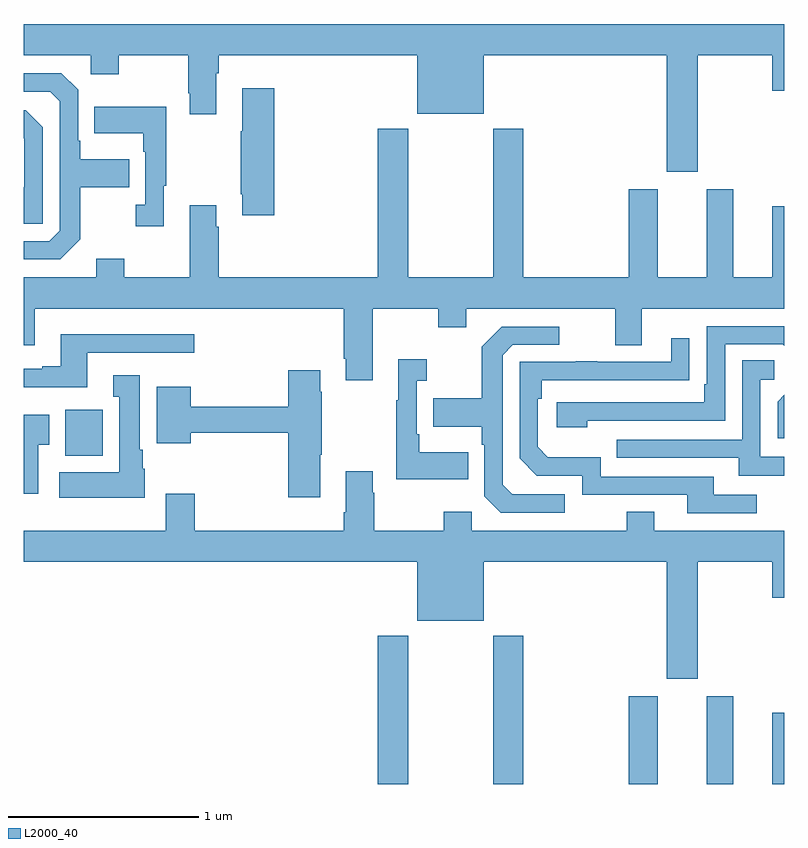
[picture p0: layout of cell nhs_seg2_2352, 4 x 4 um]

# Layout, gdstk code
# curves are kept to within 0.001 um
import gdstk
lib = gdstk.Library(unit=1e-6, precision=1e-09)
def R(c, l, rs):  # rectangles x0, y0, x1, y1
    for r in rs: c.add(gdstk.rectangle(r[:2], r[2:], *l))
def P(c, l, *ps):  # polygons
    for p in ps: c.add(gdstk.Polygon(p, *l))
L2000_40 = (2000, 40)

nhs_seg2_2352 = lib.new_cell('nhs_seg2_2352')
R(nhs_seg2_2352, L2000_40, [(234.863,647.8,235.023,648.58), (235.468,647.8,235.628,648.58), (236.183,647.8,236.335,648.262), (236.591,647.8,236.731,648.262), (236.936,647.8,237,648.175), (233.219,649.526,233.416,649.768)])
P(nhs_seg2_2352, L2000_40, [(236.545,651.632),(236.936,651.632),(236.936,651.444),(237,651.444),(237,651.796),(233,651.796),(233,651.632),(233.352,651.632),(233.352,651.533),(233.499,651.533),(233.499,651.632),(233.866,651.632),(233.866,651.433),(233.873,651.433),(233.873,651.321),(234.013,651.321),(234.013,651.536),(234.026,651.536),(234.026,651.632),(235.07,651.632),(235.07,651.323),(235.42,651.323),(235.42,651.632),(236.381,651.632),(236.381,651.018),(236.545,651.018)],
  [(233.299,650.665),(233.299,650.938),(233.555,650.938),(233.555,651.085),(233.299,651.085),(233.299,651.181),(233.286,651.181),(233.286,651.45),(233.199,651.537),(233,651.537),(233,651.441),(233.139,651.441),(233.19,651.39),(233.19,650.709),(233.136,650.655),(233,650.655),(233,650.559),(233.193,650.559)],
  [(234.317,651.457),(234.149,651.457),(234.149,651.233),(234.142,651.233),(234.142,650.902),(234.149,650.902),(234.149,650.79),(234.317,650.79)],
  [(233.737,650.945),(233.749,650.945),(233.749,651.361),(233.371,651.361),(233.371,651.221),(233.628,651.221),(233.628,651.125),(233.64,651.125),(233.64,650.846),(233.589,650.846),(233.589,650.733),(233.737,650.733)],
  [(233.1,651.252),(233.01,651.342),(233,651.342),(233,651.196),(233.004,651.192),(233.004,650.938),(233,650.938),(233,650.745),(233.1,650.745)],
  [(234.835,650.3),(235.18,650.3),(235.18,650.201),(235.327,650.201),(235.327,650.3),(236.111,650.3),(236.111,650.106),(236.251,650.106),(236.251,650.3),(237,650.3),(237,650.839),(236.936,650.839),(236.936,650.464),(236.731,650.464),(236.731,650.926),(236.591,650.926),(236.591,650.464),(236.335,650.464),(236.335,650.926),(236.183,650.926),(236.183,650.464),(235.628,650.464),(235.628,651.244),(235.468,651.244),(235.468,650.464),(235.023,650.464),(235.023,651.244),(234.863,651.244),(234.863,650.464),(234.026,650.464),(234.026,650.729),(234.013,650.729),(234.013,650.842),(233.873,650.842),(233.873,650.464),(233.529,650.464),(233.529,650.563),(233.381,650.563),(233.381,650.464),(233,650.464),(233,650.106),(233.059,650.106),(233.059,650.3),(234.683,650.3),(234.683,650.035),(234.695,650.035),(234.695,649.923),(234.835,649.923)],
  [(235.964,649.71),(236.688,649.71),(236.688,650.112),(236.991,650.112),(237,650.103),(237,650.208),(236.592,650.208),(236.592,649.903),(236.579,649.903),(236.579,649.806),(235.803,649.806),(235.803,649.676),(235.964,649.676)],
  [(235.846,649.323),(235.569,649.323),(235.518,649.374),(235.518,650.055),(235.572,650.109),(235.816,650.109),(235.816,650.205),(235.515,650.205),(235.41,650.099),(235.41,649.827),(235.153,649.827),(235.153,649.679),(235.41,649.679),(235.41,649.583),(235.422,649.583),(235.422,649.314),(235.509,649.227),(235.846,649.227)],
  [(233.335,650.067),(233.896,650.067),(233.896,650.164),(233.195,650.164),(233.195,649.996),(233.099,649.996),(233.099,649.983),(233,649.983),(233,649.886),(233.335,649.886)],
  [(236.854,649.32),(236.629,649.32),(236.629,649.416),(236.034,649.416),(236.034,649.519),(235.757,649.519),(235.704,649.572),(235.704,649.826),(235.724,649.826),(235.724,649.923),(236.501,649.924),(236.501,650.143),(236.405,650.143),(236.405,650.019),(236.015,650.019),(236.015,650.024),(235.903,650.024),(235.903,650.019),(235.608,650.019),(235.608,649.512),(235.698,649.422),(235.938,649.422),(235.938,649.32),(236.489,649.32),(236.489,649.224),(236.854,649.224)],
  [(235.337,649.543),(235.081,649.543),(235.081,649.639),(235.068,649.639),(235.068,649.919),(235.12,649.919),(235.12,650.032),(234.971,650.032),(234.971,649.819),(234.96,649.819),(234.96,649.403),(235.337,649.403)],
  [(237,649.521),(236.874,649.521),(236.874,649.926),(236.947,649.926),(236.947,650.027),(236.778,650.027),(236.778,649.611),(236.119,649.611),(236.119,649.515),(236.759,649.515),(236.759,649.421),(237,649.421)],
  [(234.559,649.531),(234.567,649.531),(234.567,649.862),(234.559,649.862),(234.559,649.975),(234.392,649.975),(234.392,649.784),(233.878,649.784),(233.878,649.888),(233.699,649.888),(233.699,649.592),(233.878,649.592),(233.878,649.648),(234.392,649.648),(234.392,649.308),(234.559,649.308)],
  [(233.638,649.458),(233.626,649.458),(233.626,649.558),(233.611,649.558),(233.611,649.948),(233.471,649.948),(233.471,649.835),(233.504,649.835),(233.504,649.438),(233.187,649.438),(233.187,649.304),(233.638,649.304)],
  [(237,649.846),(236.964,649.81),(236.964,649.617),(237,649.617)],
  [(233.077,649.585),(233.134,649.585),(233.134,649.741),(233,649.741),(233,649.326),(233.077,649.326)],
  [(236.545,648.968),(236.936,648.968),(236.936,648.78),(237,648.78),(237,649.132),(236.317,649.132),(236.317,649.231),(236.17,649.231),(236.17,649.132),(235.356,649.132),(235.356,649.231),(235.21,649.231),(235.21,649.132),(234.843,649.132),(234.843,649.331),(234.835,649.331),(234.835,649.444),(234.695,649.444),(234.695,649.228),(234.683,649.228),(234.683,649.132),(233.9,649.132),(233.9,649.327),(233.747,649.327),(233.747,649.132),(233,649.132),(233,648.968),(235.07,648.968),(235.07,648.659),(235.42,648.659),(235.42,648.968),(236.381,648.968),(236.381,648.354),(236.545,648.354)])

lib.write_gds('nhs_seg2_2352.gds')
